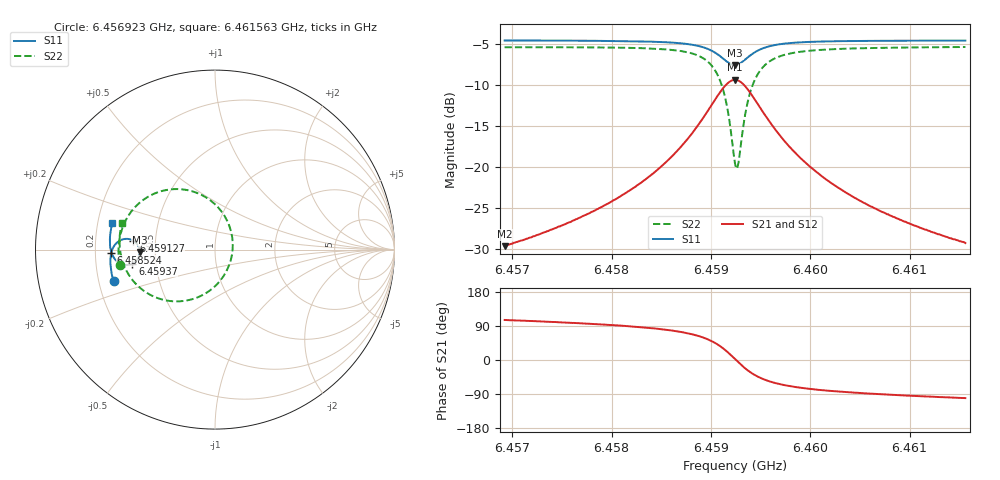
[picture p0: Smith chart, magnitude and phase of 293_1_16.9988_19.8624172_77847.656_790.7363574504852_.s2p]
#  HZ  S  RI  R  50.00
! Rohde & Schwarz Vector Network Analyzer
! Rohde-Schwarz,ZNB20-2Port,1311601062101988,3.16
! Created: UTC 3/20/2024, 11:05:10 PM
! freq[Hz]  re:S11  im:S11  re:S21  im:S21  re:S12  im:S12  re:S22  im:S22
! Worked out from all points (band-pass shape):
!   401 points, 6.456923 GHz to 6.461563 GHz, reference 50 ohm
!   highest |S21| = -9.34 dB at 6.459243 GHz (marker M1); lowest = -29.6 dB at 6.456923 GHz (marker M2)
!   |S21| within 3 dB of the highest: 6.459011 GHz to 6.459474 GHz (463.7 kHz wide, 0.00718 % of centre)
!   lowest |S11| = -7.6 dB at 6.459243 GHz (marker M3), VSWR 2.44, Z = 20.5 - j0.632 ohm
!   |S11| at or under -10 dB: nowhere
!   |S22| runs from -20.1 to -5.3 dB; largest |S21 - S12| = 0.013
!   S11 on the Smith chart (normalised r, x): 6.456923 GHz: 0.26, -0.14; 6.458524 GHz: 0.27, -0.01; 6.459127 GHz: 0.37, +0.05; 6.45937 GHz: 0.37, -0.07; 6.461563 GHz: 0.26, +0.12
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6.4569229e9  -0.5652 -0.1766  -0.00895 0.0319  -0.00721 0.0319  -0.5318 -0.0857
6.4577e9  -0.5799 -0.109  -0.00586 0.0498  -0.00325 0.0491  -0.5375 0.00403
6.4581292e9  -0.5831 -0.0661  1.62e-05 0.0688  0.00324 0.0675  -0.5297 0.0708
6.4584772e9  -0.5796 -0.0247  0.0136 0.0974  0.0176 0.0949  -0.5048 0.1476
6.4585236e9  -0.5783 -0.0185  0.0171 0.1029  0.0209 0.1  -0.4988 0.1607
6.458744e9  -0.5651 0.0154  0.045 0.1364  0.0491 0.1315  -0.4464 0.2357
6.4588948e9  -0.5427 0.0419  0.0896 0.1666  0.0928 0.1601  -0.3644 0.2992
6.459034e9  -0.4993 0.0597  0.1756 0.1831  0.1766 0.1759  -0.2083 0.3373
6.4591268e9  -0.4548 0.0497  0.2645 0.1524  0.2649 0.1465  -0.045 0.2876
6.4591732e9  -0.4338 0.0311  0.3077 0.1103  0.3089 0.1048  0.036 0.2126
6.4592428e9  -0.4189 -0.0127  0.3407 0.0146  0.3441 0.00759  0.0989 0.0364
6.4592544e9  -0.4194 -0.0207  0.3404 -0.00298  0.3439 -0.0106  0.0984 0.00368
6.4592776e9  -0.4228 -0.0362  0.335 -0.0371  0.3385 -0.0461  0.0874 -0.0608
6.4593356e9  -0.4434 -0.067  0.2973 -0.1081  0.2985 -0.1204  0.0114 -0.1931
6.4593704e9  -0.4601 -0.0783  0.2655 -0.1367  0.2644 -0.1497  -0.0526 -0.2441
6.4594631e9  -0.5031 -0.0851  0.1819 -0.1677  0.1757 -0.1787  -0.2175 -0.2887
6.4596139e9  -0.5467 -0.0648  0.0954 -0.1541  0.0869 -0.1602  -0.3813 -0.24
6.4597763e9  -0.5681 -0.0373  0.0511 -0.1266  0.0436 -0.1294  -0.46 -0.1693
6.4600199e9  -0.5811 -0.00172  0.0221 -0.0958  0.0164 -0.0963  -0.5068 -0.0882
6.4603795e9  -0.5856 0.0406  0.00594 -0.0688  0.00208 -0.0683  -0.5281 -0.00806
6.4607971e9  -0.5839 0.0823  -0.00134 -0.0511  -0.0041 -0.0503  -0.5317 0.0574
6.4615627e9  -0.5716 0.1501  -0.00633 -0.034  -0.00802 -0.0331  -0.5201 0.1466
